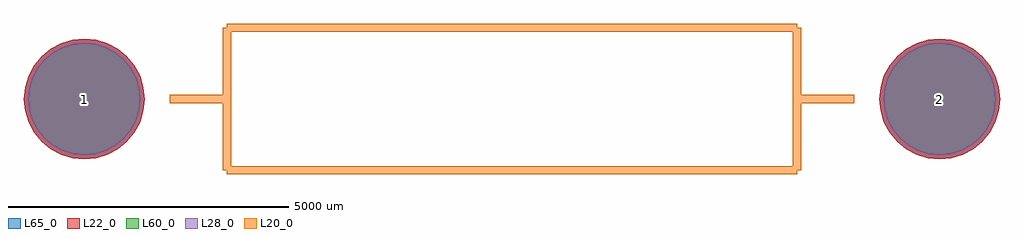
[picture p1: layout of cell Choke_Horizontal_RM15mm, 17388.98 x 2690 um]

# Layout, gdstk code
import gdstk
lib = gdstk.Library(unit=1e-6, precision=1e-09)
def P(c, l, *ps):  # polygons
    for p in ps: c.add(gdstk.Polygon(p, *l))
L20_0 = (20, 0)
L22_0 = (22, 0)
L28_0 = (28, 0)
L60_0 = (60, 0)
L65_0 = (65, 0)

choke_horizontal_rm15mm = lib.new_cell('Choke_Horizontal_RM15mm')
P(choke_horizontal_rm15mm, L22_0, [(8813.87,0),(8793.224,209.623),(8732.079,411.19),(8632.786,596.955),(8499.159,759.779),(8336.335,893.406),(8150.57,992.699),(7949.003,1053.844),(7739.38,1074.49),(7529.757,1053.844),(7328.19,992.699),(7142.425,893.406),(6979.601,759.779),(6845.974,596.955),(6746.681,411.19),(6685.536,209.623),(6664.89,0),(6685.536,-209.623),(6746.681,-411.19),(6845.974,-596.955),(6979.601,-759.779),(7142.425,-893.406),(7328.19,-992.699),(7529.757,-1053.844),(7739.38,-1074.49),(7949.003,-1053.844),(8150.57,-992.699),(8336.335,-893.406),(8499.159,-759.779),(8632.786,-596.955),(8732.079,-411.19),(8793.224,-209.623)],
  [(-6426.13,0),(-6446.776,209.623),(-6507.921,411.19),(-6607.214,596.955),(-6740.841,759.779),(-6903.665,893.406),(-7089.43,992.699),(-7290.997,1053.844),(-7500.62,1074.49),(-7710.243,1053.844),(-7911.81,992.699),(-8097.575,893.406),(-8260.399,759.779),(-8394.026,596.955),(-8493.319,411.19),(-8554.464,209.623),(-8575.11,0),(-8554.464,-209.623),(-8493.319,-411.19),(-8394.026,-596.955),(-8260.399,-759.779),(-8097.575,-893.406),(-7911.81,-992.699),(-7710.243,-1053.844),(-7500.62,-1074.49),(-7290.997,-1053.844),(-7089.43,-992.699),(-6903.665,-893.406),(-6740.841,-759.779),(-6607.214,-596.955),(-6507.921,-411.19),(-6446.776,-209.623)])
P(choke_horizontal_rm15mm, L28_0, [(8738.87,0),(8719.665,194.991),(8662.788,382.488),(8570.426,555.287),(8446.126,706.746),(8294.667,831.046),(8121.868,923.408),(7934.371,980.285),(7739.38,999.49),(7544.389,980.285),(7356.892,923.408),(7184.093,831.046),(7032.634,706.746),(6908.334,555.287),(6815.972,382.488),(6759.095,194.991),(6739.89,0),(6759.095,-194.991),(6815.972,-382.488),(6908.334,-555.287),(7032.634,-706.746),(7184.093,-831.046),(7356.892,-923.408),(7544.389,-980.285),(7739.38,-999.49),(7934.371,-980.285),(8121.868,-923.408),(8294.667,-831.046),(8446.126,-706.746),(8570.426,-555.287),(8662.788,-382.488),(8719.665,-194.991)],
  [(-6501.13,0),(-6520.335,194.991),(-6577.212,382.488),(-6669.574,555.287),(-6793.874,706.746),(-6945.333,831.046),(-7118.132,923.408),(-7305.629,980.285),(-7500.62,999.49),(-7695.611,980.285),(-7883.108,923.408),(-8055.907,831.046),(-8207.366,706.746),(-8331.666,555.287),(-8424.028,382.488),(-8480.905,194.991),(-8500.11,0),(-8480.905,-194.991),(-8424.028,-382.488),(-8331.666,-555.287),(-8207.366,-706.746),(-8055.907,-831.046),(-7883.108,-923.408),(-7695.611,-980.285),(-7500.62,-999.49),(-7305.629,-980.285),(-7118.132,-923.408),(-6945.333,-831.046),(-6793.874,-706.746),(-6669.574,-555.287),(-6577.212,-382.488),(-6520.335,-194.991)])
P(choke_horizontal_rm15mm, L60_0, [(8738.87,0),(8719.665,194.991),(8662.788,382.488),(8570.426,555.287),(8446.126,706.746),(8294.667,831.046),(8121.868,923.408),(7934.371,980.285),(7739.38,999.49),(7544.389,980.285),(7356.892,923.408),(7184.093,831.046),(7032.634,706.746),(6908.334,555.287),(6815.972,382.488),(6759.095,194.991),(6739.89,0),(6759.095,-194.991),(6815.972,-382.488),(6908.334,-555.287),(7032.634,-706.746),(7184.093,-831.046),(7356.892,-923.408),(7544.389,-980.285),(7739.38,-999.49),(7934.371,-980.285),(8121.868,-923.408),(8294.667,-831.046),(8446.126,-706.746),(8570.426,-555.287),(8662.788,-382.488),(8719.665,-194.991)],
  [(-6501.13,0),(-6520.335,194.991),(-6577.212,382.488),(-6669.574,555.287),(-6793.874,706.746),(-6945.333,831.046),(-7118.132,923.408),(-7305.629,980.285),(-7500.62,999.49),(-7695.611,980.285),(-7883.108,923.408),(-8055.907,831.046),(-8207.366,706.746),(-8331.666,555.287),(-8424.028,382.488),(-8480.905,194.991),(-8500.11,0),(-8480.905,-194.991),(-8424.028,-382.488),(-8331.666,-555.287),(-8207.366,-706.746),(-8055.907,-831.046),(-7883.108,-923.408),(-7695.611,-980.285),(-7500.62,-999.49),(-7305.629,-980.285),(-7118.132,-923.408),(-6945.333,-831.046),(-6793.874,-706.746),(-6669.574,-555.287),(-6577.212,-382.488),(-6520.335,-194.991)])
P(choke_horizontal_rm15mm, L65_0, [(8813.87,0),(8793.224,209.623),(8732.079,411.19),(8632.786,596.955),(8499.159,759.779),(8336.335,893.406),(8150.57,992.699),(7949.003,1053.844),(7739.38,1074.49),(7529.757,1053.844),(7328.19,992.699),(7142.425,893.406),(6979.601,759.779),(6845.974,596.955),(6746.681,411.19),(6685.536,209.623),(6664.89,0),(6685.536,-209.623),(6746.681,-411.19),(6845.974,-596.955),(6979.601,-759.779),(7142.425,-893.406),(7328.19,-992.699),(7529.757,-1053.844),(7739.38,-1074.49),(7949.003,-1053.844),(8150.57,-992.699),(8336.335,-893.406),(8499.159,-759.779),(8632.786,-596.955),(8732.079,-411.19),(8793.224,-209.623)],
  [(-6426.13,0),(-6446.776,209.623),(-6507.921,411.19),(-6607.214,596.955),(-6740.841,759.779),(-6903.665,893.406),(-7089.43,992.699),(-7290.997,1053.844),(-7500.62,1074.49),(-7710.243,1053.844),(-7911.81,992.699),(-8097.575,893.406),(-8260.399,759.779),(-8394.026,596.955),(-8493.319,411.19),(-8554.464,209.623),(-8575.11,0),(-8554.464,-209.623),(-8493.319,-411.19),(-8394.026,-596.955),(-8260.399,-759.779),(-8097.575,-893.406),(-7911.81,-992.699),(-7710.243,-1053.844),(-7500.62,-1074.49),(-7290.997,-1053.844),(-7089.43,-992.699),(-6903.665,-893.406),(-6740.841,-759.779),(-6607.214,-596.955),(-6507.921,-411.19),(-6446.776,-209.623)])
choke_horizontal_rm15mm.add(gdstk.FlexPath([(-4960.62,-1270),(-4960.62,1270)], 149.998, ends="flush", simple_path=True, layer=20, datatype=0))  # L20_0
choke_horizontal_rm15mm.add(gdstk.FlexPath([(5199.38,-1270),(-4960.62,-1270)], 149.998, ends="flush", simple_path=True, layer=20, datatype=0))  # L20_0
choke_horizontal_rm15mm.add(gdstk.FlexPath([(5199.38,1270),(5199.38,-1270)], 149.998, ends="flush", simple_path=True, layer=20, datatype=0))  # L20_0
choke_horizontal_rm15mm.add(gdstk.FlexPath([(-4960.62,1270),(5199.38,1270)], 149.998, ends="flush", simple_path=True, layer=20, datatype=0))  # L20_0
choke_horizontal_rm15mm.add(gdstk.FlexPath([(-4960.62,0),(-5976.62,0)], 149.998, ends="flush", simple_path=True, layer=20, datatype=0))  # L20_0
choke_horizontal_rm15mm.add(gdstk.FlexPath([(5199.38,0),(6215.38,0)], 149.998, ends="flush", simple_path=True, layer=20, datatype=0))  # L20_0
choke_horizontal_rm15mm.add(gdstk.Label('2', (7739.38,0), layer=28, texttype=0))
choke_horizontal_rm15mm.add(gdstk.Label('1', (-7500.62,0), layer=28, texttype=0))
choke_horizontal_rm15mm.add(gdstk.Label('type', (0,-3810), layer=9, texttype=0))
choke_horizontal_rm15mm.add(gdstk.Label('devicename', (0,3500.12), layer=9, texttype=0))

lib.write_gds('Choke_Horizontal_RM15mm.gds')
